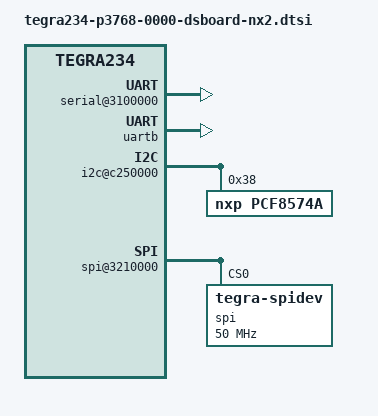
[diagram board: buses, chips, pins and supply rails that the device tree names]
// SPDX-License-Identifier: GPL-2.0-only
// SPDX-FileCopyrightText: Copyright (c) 2023-2024, NVIDIA CORPORATION & AFFILIATES.  All rights reserved.

/ {
	aliases {
		serial3 = &uartb;
	};

	bus@0 {
		serial@3100000 { // UART1 (uarta)
			status = "okay";
		};

		uartb: serial@3110000 { // UART0 (uartb) on expansion connector
			status = "okay";
			compatible = "nvidia,tegra194-hsuart";
			reset-names = "serial";
		};

		i2c@c250000 {
			pcf8574a: gpio@38 { // for rev-1.0, 1.1, 1.21 and 1.22
				status = "okay";
				compatible = "nxp,pcf8574a";
				reg = <0x38>;
				gpio-controller;
				#gpio-cells = <2>;
			};
		};

		spi@3210000{ // SPI0 with CS0 on expansion connector
			status = "okay";
			spi@0 {
				compatible = "tegra-spidev";
				reg = <0x0>;
				spi-max-frequency = <50000000>;
				controller-data {
					nvidia,enable-hw-based-cs;
					nvidia,rx-clk-tap-delay = <0x10>;
					nvidia,tx-clk-tap-delay = <0x0>;
				};
			};
		};
	};
};
